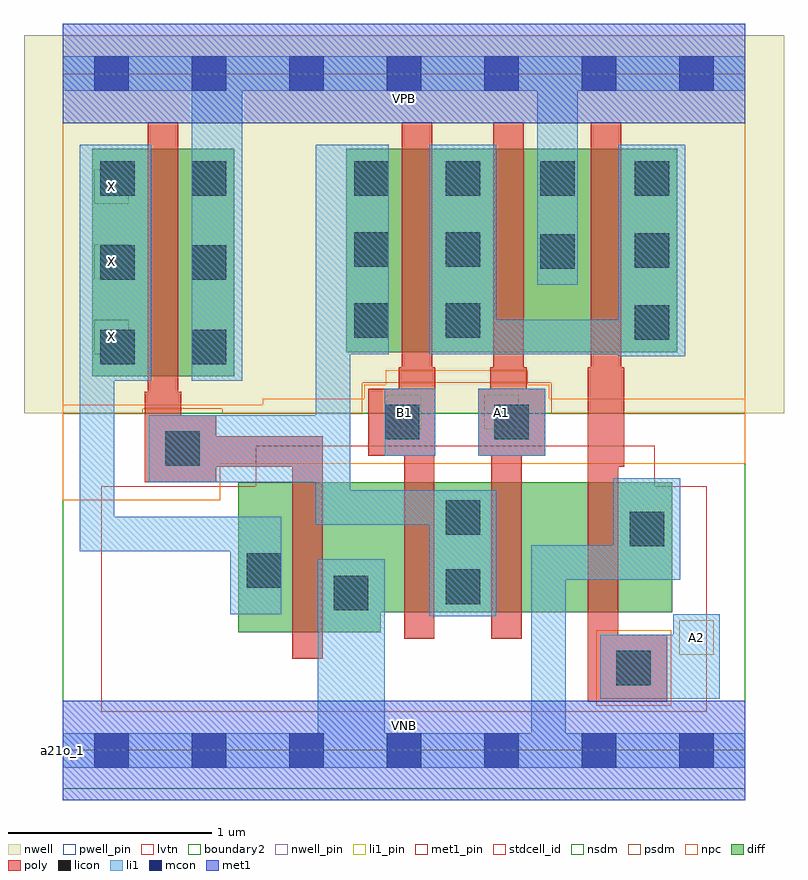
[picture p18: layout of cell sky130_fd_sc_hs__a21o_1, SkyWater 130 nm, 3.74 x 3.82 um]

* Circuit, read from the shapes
.subckt sky130_fd_sc_hs__a21o_1 A1 A2 B1 VGND VNB VPB VPWR X
XM1 VGND n1 X VNB sky130_fd_pr__nfet_01v8_lvt w=0.74 l=0.15
XM2 n1 B1 VGND VNB sky130_fd_pr__nfet_01v8_lvt w=0.64 l=0.15
XM3 n2 A1 n1 VNB sky130_fd_pr__nfet_01v8_lvt w=0.64 l=0.15
XM4 VGND A2 n2 VNB sky130_fd_pr__nfet_01v8_lvt w=0.64 l=0.15
XM5 VPWR n1 X VPB sky130_fd_pr__pfet_01v8 w=1.12 l=0.15
XM6 n3 B1 n1 VPB sky130_fd_pr__pfet_01v8 w=1 l=0.15
XM7 VPWR A1 n3 VPB sky130_fd_pr__pfet_01v8 w=1 l=0.15
XM8 n3 A2 VPWR VPB sky130_fd_pr__pfet_01v8 w=1 l=0.15
.ends

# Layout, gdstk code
import gdstk
lib = gdstk.Library(unit=1e-6, precision=1e-09)
def R(c, l, rs):  # rectangles x0, y0, x1, y1
    for r in rs: c.add(gdstk.rectangle(r[:2], r[2:], *l))
def A(c, l, x, y, w, h, nx, ny, dx, dy):  # array of equal rectangles
    R(c, l, [(x+i*dx, y+j*dy, x+i*dx+w, y+j*dy+h) for i in range(nx) for j in range(ny)])
def P(c, l, *ps):  # polygons
    for p in ps: c.add(gdstk.Polygon(p, *l))
nwell_pin = (64, 16)
nwell = (64, 20)
diff = (65, 20)
poly = (66, 20)
licon = (66, 44)
li1_pin = (67, 16)
li1 = (67, 20)
mcon = (67, 44)
met1_pin = (68, 16)
met1 = (68, 20)
stdcell_id = (81, 4)
nsdm = (93, 44)
psdm = (94, 20)
npc = (95, 20)
pwell_pin = (122, 16)
lvtn = (125, 44)
boundary2 = (236, 0)

sky130_fd_sc_hs__a21o_1 = lib.new_cell('sky130_fd_sc_hs__a21o_1')
R(sky130_fd_sc_hs__a21o_1, nwell_pin, [(0,3.085,3.36,3.33)])
R(sky130_fd_sc_hs__a21o_1, nwell, [(-0.19,1.66,3.55,3.52)])
R(sky130_fd_sc_hs__a21o_1, diff, [(0.145,1.84,0.845,2.96), (1.395,1.96,3.025,2.96)])
P(sky130_fd_sc_hs__a21o_1, diff, [(3,1.32),(0.865,1.32),(0.865,0.58),(1.565,0.58),(1.565,0.68),(3,0.68)])
P(sky130_fd_sc_hs__a21o_1, poly, [(2.975,0.57),(2.735,0.57),(2.735,1.395),(2.765,1.395),(2.765,1.885),(2.75,1.885),(2.75,3.09),(2.6,3.09),(2.6,1.885),(2.585,1.885),(2.585,0.24),(2.975,0.24)],
  [(2.375,1.78),(2.285,1.78),(2.285,1.885),(2.27,1.885),(2.27,3.09),(2.12,3.09),(2.12,1.885),(2.105,1.885),(2.105,1.78),(2.045,1.78),(2.045,1.45),(2.11,1.45),(2.11,0.55),(2.26,0.55),(2.26,1.45),(2.375,1.45)],
  [(1.835,1.885),(1.82,1.885),(1.82,3.09),(1.67,3.09),(1.67,1.885),(1.655,1.885),(1.655,1.78),(1.505,1.78),(1.505,1.45),(1.68,1.45),(1.68,0.55),(1.83,0.55),(1.83,1.45),(1.835,1.45)],
  [(1.28,1.545),(0.755,1.545),(0.755,1.65),(0.585,1.65),(0.585,1.765),(0.57,1.765),(0.57,3.09),(0.42,3.09),(0.42,1.765),(0.405,1.765),(0.405,1.32),(0.755,1.32),(0.755,1.395),(1.13,1.395),(1.13,0.45),(1.28,0.45)])
A(sky130_fd_sc_hs__a21o_1, licon, 0.185, 1.9, 0.17, 0.17, 1, 3, 0, 0.415)
A(sky130_fd_sc_hs__a21o_1, licon, 0.635, 1.9, 0.17, 0.17, 1, 3, 0, 0.415)
A(sky130_fd_sc_hs__a21o_1, licon, 1.435, 2.03, 0.17, 0.17, 1, 3, 0, 0.35)
A(sky130_fd_sc_hs__a21o_1, licon, 1.885, 2.73, 0.17, 0.17, 3, 1, 0.465, 0)
R(sky130_fd_sc_hs__a21o_1, licon, [(2.725,0.32,2.895,0.49), (1.335,0.69,1.505,0.86), (1.885,0.72,2.055,0.89), (0.905,0.8,1.075,0.97), (2.79,1.005,2.96,1.175), (1.885,1.06,2.055,1.23), (0.505,1.4,0.675,1.57), (1.585,1.53,1.755,1.7), (2.125,1.53,2.295,1.7), (2.815,2.02,2.985,2.19), (1.885,2.03,2.055,2.2), (2.35,2.37,2.52,2.54), (2.815,2.375,2.985,2.545), (1.885,2.38,2.055,2.55)])
A(sky130_fd_sc_hs__a21o_1, li1_pin, 0.155, 1.95, 0.17, 0.17, 1, 3, 0, 0.37)
R(sky130_fd_sc_hs__a21o_1, li1_pin, [(3.035,0.47,3.205,0.64), (1.595,1.58,1.765,1.75), (2.075,1.58,2.245,1.75)])
R(sky130_fd_sc_hs__a21o_1, li1, [(1.585,1.45,1.835,1.78), (2.045,1.45,2.375,1.78)])
P(sky130_fd_sc_hs__a21o_1, li1, [(0.085,2.98),(0.435,2.98),(0.435,1.82),(0.255,1.82),(0.255,1.15),(1.075,1.15),(1.075,0.67),(0.825,0.67),(0.825,0.98),(0.085,0.98)],
  [(0.635,1.82),(0.635,3.245),(0,3.245),(0,3.415),(3.36,3.415),(3.36,3.245),(2.535,3.245),(2.535,2.29),(2.335,2.29),(2.335,3.245),(0.885,3.245),(0.885,1.82)],
  [(2.305,0.085),(2.305,1.01),(2.71,1.01),(2.71,1.34),(3.04,1.34),(3.04,0.84),(2.475,0.84),(2.475,0.085),(3.36,0.085),(3.36,-0.085),(0,-0.085),(0,0.085),(1.255,0.085),(1.255,0.94),(1.585,0.94),(1.585,0.085)],
  [(1.245,1.11),(1.245,1.32),(0.425,1.32),(0.425,1.65),(1.245,1.65),(1.245,2.98),(1.605,2.98),(1.605,1.95),(1.415,1.95),(1.415,1.28),(2.135,1.28),(2.135,0.66),(1.805,0.66),(1.805,1.11)],
  [(2.735,1.94),(2.735,1.95),(1.805,1.95),(1.805,2.98),(2.135,2.98),(2.135,2.12),(2.735,2.12),(2.735,2.98),(3.065,2.98),(3.065,1.94)],
  [(2.645,0.255),(2.645,0.57),(3.005,0.57),(3.005,0.67),(3.235,0.67),(3.235,0.255)])
A(sky130_fd_sc_hs__a21o_1, mcon, 0.155, -0.085, 0.17, 0.17, 7, 2, 0.48, 3.33)
R(sky130_fd_sc_hs__a21o_1, met1_pin, [(0,0,3.36,0.245), (0,3.085,3.36,3.33)])
R(sky130_fd_sc_hs__a21o_1, met1, [(0,-0.245,3.36,0.245), (0,3.085,3.36,3.575)])
R(sky130_fd_sc_hs__a21o_1, stdcell_id, [(0,0,3.36,3.33)])
R(sky130_fd_sc_hs__a21o_1, nsdm, [(0,-0.19,3.36,1.66)])
P(sky130_fd_sc_hs__a21o_1, psdm, [(3.36,3.52),(0,3.52),(0,1.66),(0.395,1.66),(0.395,1.68),(0.785,1.68),(0.785,1.66),(1.475,1.66),(1.475,1.81),(2.405,1.81),(2.405,1.66),(3.36,1.66)])
R(sky130_fd_sc_hs__a21o_1, npc, [(2.625,0.22,2.995,0.59)])
P(sky130_fd_sc_hs__a21o_1, npc, [(3.36,1.73),(2.395,1.73),(2.395,1.8),(2.29,1.8),(2.29,1.87),(1.59,1.87),(1.59,1.8),(1.485,1.8),(1.485,1.73),(0.985,1.73),(0.985,1.7),(0,1.7),(0,1.23),(0.775,1.23),(0.775,1.41),(3.36,1.41)])
R(sky130_fd_sc_hs__a21o_1, pwell_pin, [(0,0,3.36,0.245)])
P(sky130_fd_sc_hs__a21o_1, lvtn, [(3.17,1.3),(2.915,1.3),(2.915,1.5),(0.95,1.5),(0.95,1.3),(0.19,1.3),(0.19,0.19),(3.17,0.19)])
R(sky130_fd_sc_hs__a21o_1, boundary2, [(0,0,3.36,3.33)])
sky130_fd_sc_hs__a21o_1.add(gdstk.Label('a21o_1', (0,0), layer=83, texttype=44))
sky130_fd_sc_hs__a21o_1.add(gdstk.Label('VNB', (1.68,0.123), layer=64, texttype=59))
sky130_fd_sc_hs__a21o_1.add(gdstk.Label('VPB', (1.68,3.208), layer=64, texttype=5))
sky130_fd_sc_hs__a21o_1.add(gdstk.Label('VPWR', (1.68,3.208), layer=68, texttype=5))
sky130_fd_sc_hs__a21o_1.add(gdstk.Label('VGND', (1.68,0.123), layer=68, texttype=5))
sky130_fd_sc_hs__a21o_1.add(gdstk.Label('X', (0.24,2.035), layer=67, texttype=5))
sky130_fd_sc_hs__a21o_1.add(gdstk.Label('X', (0.24,2.405), layer=67, texttype=5))
sky130_fd_sc_hs__a21o_1.add(gdstk.Label('X', (0.24,2.775), layer=67, texttype=5))
sky130_fd_sc_hs__a21o_1.add(gdstk.Label('A1', (2.16,1.665), layer=67, texttype=5))
sky130_fd_sc_hs__a21o_1.add(gdstk.Label('B1', (1.68,1.665), layer=67, texttype=5))
sky130_fd_sc_hs__a21o_1.add(gdstk.Label('A2', (3.12,0.555), layer=67, texttype=5))

lib.write_gds('sky130_fd_sc_hs__a21o_1.gds')
